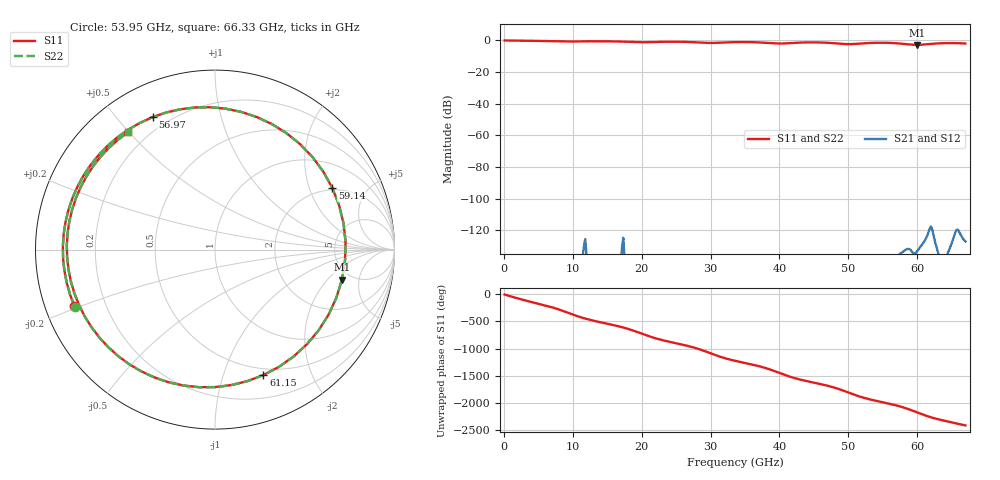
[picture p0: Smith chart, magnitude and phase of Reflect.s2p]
! Touchstone file exported from HFSS 2021.2.0
!  File:  D:/20220920 new project/ISC_3rd_design/NewISC_3_with_imtiaz_dim_connector.aedt
!  Generated:  1:08:33 AM  Aug 03, 2023
!  Design:  Reflect1
!  Project:  NewISC_3_with_imtiaz_dim_connector
!  Setup:  Setup2
!  Solution:  Sweep
! Variables:
!  $_L_pin_on = 0.01nH
!  $_R_pin_on = 1ohm
!  Con_T = 0.012mm
!  Con_W = 0.11534mm
!  DUT = 30.8024mm
!  Gap = 0.71534mm
!  Gap_connector_vias = 1mm
!  Radius = 0.225mm
!  Space = 0.837mm
!  Sub_L = 9.5988mm
!  Sub_T = 0.05mm
!  Sub_W = 13.8408mm
!  Vias_N = 49
!  Vias_gap = 1mm
!  quater_wave_L = 1.2798mm
# GHz S RI R 50.000000
! Terminal data exported
! Port[1] = 1
! Port[2] = 2
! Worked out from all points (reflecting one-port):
!   401 points, 100 MHz to 67 GHz, reference 50 ohm
!   lowest |S11| = -2.8 dB at 59.98 GHz (marker M1), VSWR 6.32, Z = 207 - j147 ohm
!   phase of S11 starts at -4 deg and turns -2410 deg over the sweep
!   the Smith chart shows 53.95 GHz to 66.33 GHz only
!   S11 on the Smith chart (normalised r, x): 53.95 GHz: 0.09, -0.19; 56.97 GHz: 0.14, +0.63; 59.14 GHz: 1.91, +2.88; 61.15 GHz: 0.43, -1.37; 66.33 GHz: 0.13, +0.50
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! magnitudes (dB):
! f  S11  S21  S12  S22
! 100 MHz  0.0  -185.2  -185.2  0.0
! 11.31 GHz  -0.6  -138.6  -138.6  -0.6
! 15.65 GHz  -0.6  -157.5  -157.5  -0.6
! 20 GHz  -1.1  -162.9  -162.9  -1.1
! 22.51 GHz  -0.9  -147.9  -147.9  -0.9
! 25.86 GHz  -0.8  -166.2  -166.2  -0.8
! 30.04 GHz  -1.6  -150.5  -150.5  -1.6
! 33.72 GHz  -1.0  -155.5  -155.5  -1.0
! 36.23 GHz  -1.1  -156.0  -156.0  -1.1
! 39.91 GHz  -1.9  -151.0  -151.0  -2.0
! 44.76 GHz  -1.2  -153.1  -153.1  -1.2
! 46.76 GHz  -1.4  -141.2  -141.2  -1.4
! 49.94 GHz  -2.3  -146.3  -146.3  -2.3
! 53.95 GHz  -1.5  -141.5  -141.5  -1.5
! 55.96 GHz  -1.5  -139.0  -139.0  -1.5
! 56.97 GHz  -1.8  -136.5  -136.5  -1.8
! 59.14 GHz  -2.6  -132.8  -132.8  -2.6
! 59.98 GHz  -2.8  -133.3  -133.3  -2.8
! 61.15 GHz  -2.5  -126.2  -126.2  -2.5
! 63.82 GHz  -1.7  -139.8  -139.8  -1.7
! 66.33 GHz  -1.8  -122.9  -122.9  -1.8
! 67 GHz  -1.9  -127.0  -127.0  -1.9
